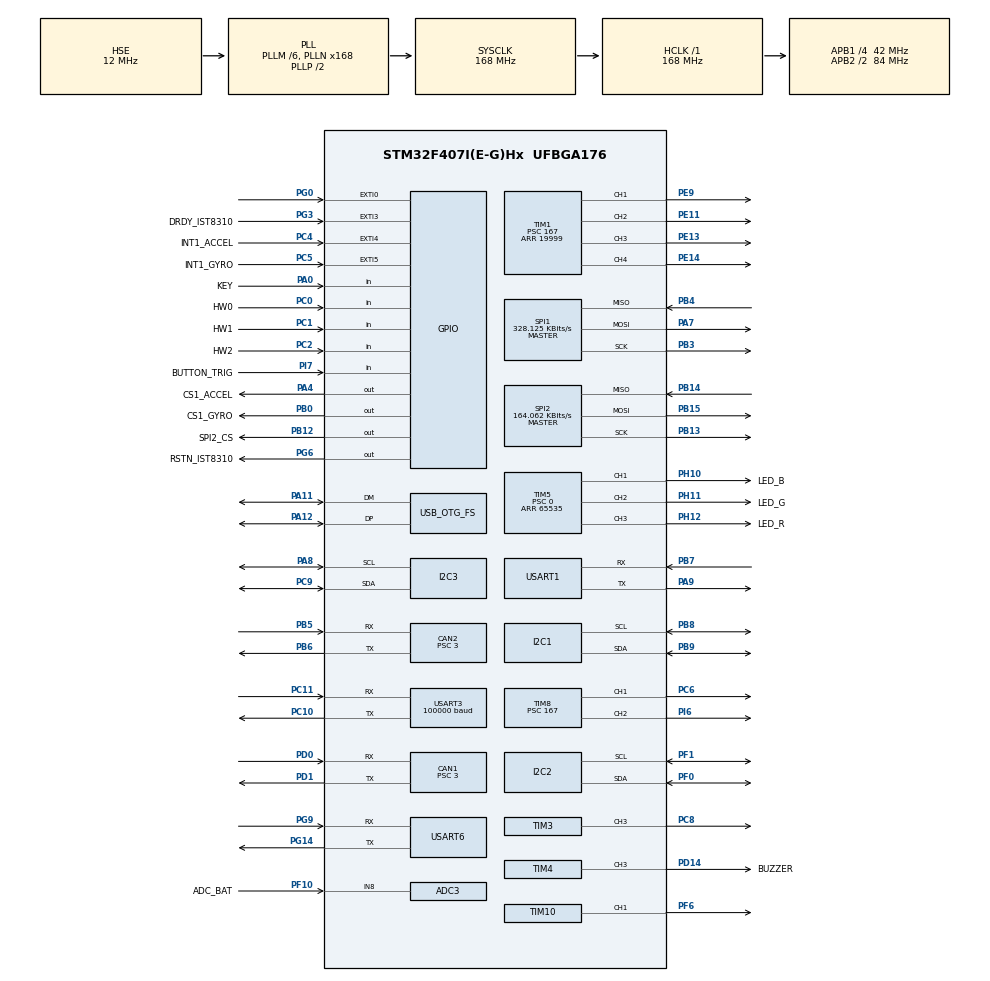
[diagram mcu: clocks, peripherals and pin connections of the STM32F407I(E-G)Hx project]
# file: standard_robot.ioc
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ADC1.Channel-0\#ChannelRegularConversion=ADC_CHANNEL_TEMPSENSOR
ADC1.ClockPrescaler=ADC_CLOCK_SYNC_PCLK_DIV6
ADC1.NbrOfConversionFlag=1
ADC1.Rank-0\#ChannelRegularConversion=1
ADC1.SamplingTime-0\#ChannelRegularConversion=ADC_SAMPLETIME_3CYCLES
ADC1.master=1
ADC3.Channel-0\#ChannelRegularConversion=ADC_CHANNEL_8
ADC3.ClockPrescaler=ADC_CLOCK_SYNC_PCLK_DIV6
ADC3.NbrOfConversionFlag=1
ADC3.Rank-0\#ChannelRegularConversion=1
ADC3.SamplingTime-0\#ChannelRegularConversion=ADC_SAMPLETIME_3CYCLES
CAN1.BS1=CAN_BS1_10TQ
CAN1.BS2=CAN_BS2_3TQ
CAN1.CalculateBaudRate=1000000
CAN1.CalculateTimeQuantum=71.42857142857143
CAN1.Prescaler=3
CAN2.BS1=CAN_BS1_10TQ
CAN2.BS2=CAN_BS2_3TQ
CAN2.CalculateBaudRate=1000000
CAN2.CalculateTimeQuantum=71.42857142857143
CAN2.Prescaler=3
Dma.I2C2_TX.2.Direction=DMA_MEMORY_TO_PERIPH
Dma.I2C2_TX.2.FIFOMode=DMA_FIFOMODE_DISABLE
Dma.I2C2_TX.2.Instance=DMA1_Stream7
Dma.I2C2_TX.2.MemDataAlignment=DMA_MDATAALIGN_BYTE
Dma.I2C2_TX.2.MemInc=DMA_MINC_ENABLE
Dma.I2C2_TX.2.Mode=DMA_NORMAL
Dma.I2C2_TX.2.PeriphDataAlignment=DMA_PDATAALIGN_BYTE
Dma.I2C2_TX.2.PeriphInc=DMA_PINC_DISABLE
Dma.I2C2_TX.2.Priority=DMA_PRIORITY_HIGH
Dma.Request0=SPI1_RX
Dma.Request1=SPI1_TX
Dma.Request2=I2C2_TX
Dma.Request3=USART3_RX
Dma.Request4=USART6_RX
Dma.Request5=USART6_TX
Dma.Request6=USART1_TX
Dma.SPI1_RX.0.Direction=DMA_PERIPH_TO_MEMORY
Dma.SPI1_RX.0.FIFOMode=DMA_FIFOMODE_DISABLE
Dma.SPI1_RX.0.Instance=DMA2_Stream2
Dma.SPI1_RX.0.MemDataAlignment=DMA_MDATAALIGN_BYTE
Dma.SPI1_RX.0.MemInc=DMA_MINC_ENABLE
Dma.SPI1_RX.0.Mode=DMA_NORMAL
Dma.SPI1_RX.0.PeriphDataAlignment=DMA_PDATAALIGN_BYTE
Dma.SPI1_RX.0.PeriphInc=DMA_PINC_DISABLE
Dma.SPI1_RX.0.Priority=DMA_PRIORITY_VERY_HIGH
Dma.SPI1_TX.1.Direction=DMA_MEMORY_TO_PERIPH
Dma.SPI1_TX.1.FIFOMode=DMA_FIFOMODE_DISABLE
Dma.SPI1_TX.1.Instance=DMA2_Stream3
Dma.SPI1_TX.1.MemDataAlignment=DMA_MDATAALIGN_BYTE
Dma.SPI1_TX.1.MemInc=DMA_MINC_ENABLE
Dma.SPI1_TX.1.Mode=DMA_NORMAL
Dma.SPI1_TX.1.PeriphDataAlignment=DMA_PDATAALIGN_BYTE
Dma.SPI1_TX.1.PeriphInc=DMA_PINC_DISABLE
Dma.SPI1_TX.1.Priority=DMA_PRIORITY_HIGH
Dma.USART1_TX.6.Direction=DMA_MEMORY_TO_PERIPH
Dma.USART1_TX.6.FIFOMode=DMA_FIFOMODE_DISABLE
Dma.USART1_TX.6.Instance=DMA2_Stream7
Dma.USART1_TX.6.MemDataAlignment=DMA_MDATAALIGN_BYTE
Dma.USART1_TX.6.MemInc=DMA_MINC_ENABLE
Dma.USART1_TX.6.Mode=DMA_NORMAL
Dma.USART1_TX.6.PeriphDataAlignment=DMA_PDATAALIGN_BYTE
Dma.USART1_TX.6.PeriphInc=DMA_PINC_DISABLE
Dma.USART1_TX.6.Priority=DMA_PRIORITY_MEDIUM
Dma.USART3_RX.3.Direction=DMA_PERIPH_TO_MEMORY
Dma.USART3_RX.3.FIFOMode=DMA_FIFOMODE_DISABLE
Dma.USART3_RX.3.Instance=DMA1_Stream1
Dma.USART3_RX.3.MemDataAlignment=DMA_MDATAALIGN_BYTE
Dma.USART3_RX.3.MemInc=DMA_MINC_ENABLE
Dma.USART3_RX.3.Mode=DMA_NORMAL
Dma.USART3_RX.3.PeriphDataAlignment=DMA_PDATAALIGN_BYTE
Dma.USART3_RX.3.PeriphInc=DMA_PINC_DISABLE
Dma.USART3_RX.3.Priority=DMA_PRIORITY_HIGH
Dma.USART6_RX.4.Direction=DMA_PERIPH_TO_MEMORY
Dma.USART6_RX.4.FIFOMode=DMA_FIFOMODE_DISABLE
Dma.USART6_RX.4.Instance=DMA2_Stream1
Dma.USART6_RX.4.MemDataAlignment=DMA_MDATAALIGN_BYTE
Dma.USART6_RX.4.MemInc=DMA_MINC_ENABLE
Dma.USART6_RX.4.Mode=DMA_NORMAL
Dma.USART6_RX.4.PeriphDataAlignment=DMA_PDATAALIGN_BYTE
Dma.USART6_RX.4.PeriphInc=DMA_PINC_DISABLE
Dma.USART6_RX.4.Priority=DMA_PRIORITY_HIGH
Dma.USART6_TX.5.Direction=DMA_MEMORY_TO_PERIPH
Dma.USART6_TX.5.FIFOMode=DMA_FIFOMODE_DISABLE
Dma.USART6_TX.5.Instance=DMA2_Stream6
Dma.USART6_TX.5.MemDataAlignment=DMA_MDATAALIGN_BYTE
Dma.USART6_TX.5.MemInc=DMA_MINC_ENABLE
Dma.USART6_TX.5.Mode=DMA_NORMAL
Dma.USART6_TX.5.PeriphDataAlignment=DMA_PDATAALIGN_BYTE
Dma.USART6_TX.5.PeriphInc=DMA_PINC_DISABLE
Dma.USART6_TX.5.Priority=DMA_PRIORITY_MEDIUM
FREERTOS.INCLUDE_eTaskGetState=1
FREERTOS.INCLUDE_pcTaskGetTaskName=1
FREERTOS.INCLUDE_uxTaskGetStackHighWaterMark=1
FREERTOS.INCLUDE_vTaskCleanUpResources=1
FREERTOS.INCLUDE_vTaskDelayUntil=1
FREERTOS.INCLUDE_xEventGroupSetBitFromISR=1
FREERTOS.INCLUDE_xQueueGetMutexHolder=1
FREERTOS.INCLUDE_xSemaphoreGetMutexHolder=1
FREERTOS.INCLUDE_xTaskAbortDelay=1
FREERTOS.INCLUDE_xTaskGetCurrentTaskHandle=1
FREERTOS.INCLUDE_xTaskGetHandle=1
FREERTOS.INCLUDE_xTimerPendFunctionCall=1
FREERTOS.Tasks01=test,0,128,test_task,As weak,NULL,Dynamic,NULL,NULL;shoot,0,512,shoot_task,As external,NULL,Dynamic,NULL,NULL
FREERTOS.Timers01=Buzz_Timer,Buzz_Callback,osTimerOnce,As external,NULL,Dynamic,NULL;Anti_Locked_L_Timer,Anti_Locked_L_Callback,osTimerPeriodic,As external,NULL,Dynamic,NULL;Anti_Locked_R_Timer,Anti_Locked_R_Callback,osTimerPeriodic,As external,NULL,Dynamic,NULL
FREERTOS.configTOTAL_HEAP_SIZE=24576
I2C1.I2C_Mode=I2C_Fast
I2C2.I2C_Mode=I2C_Fast
I2C3.I2C_Mode=I2C_Fast
Mcu.Family=STM32F4
Mcu.Name=STM32F407I(E-G)Hx
Mcu.Package=UFBGA176
NVIC.CAN1_RX0_IRQn=true\:6\:0\:true\:false\:true\:true\:true\:true\:true
NVIC.CAN2_RX0_IRQn=true\:6\:0\:true\:false\:true\:true\:true\:true\:true
NVIC.DMA1_Stream1_IRQn=true\:5\:0\:true\:false\:false\:true\:false\:false\:true
NVIC.DMA1_Stream7_IRQn=true\:5\:0\:true\:false\:false\:true\:false\:true\:true
NVIC.DMA2_Stream1_IRQn=true\:5\:0\:true\:false\:true\:true\:false\:true\:true
NVIC.DMA2_Stream2_IRQn=true\:5\:0\:true\:false\:false\:true\:false\:true\:true
NVIC.DMA2_Stream3_IRQn=true\:5\:0\:true\:false\:false\:true\:false\:true\:true
NVIC.DMA2_Stream6_IRQn=true\:5\:0\:true\:false\:true\:true\:false\:true\:true
NVIC.DMA2_Stream7_IRQn=true\:5\:0\:true\:false\:true\:true\:false\:true\:true
NVIC.EXTI0_IRQn=true\:6\:0\:true\:false\:true\:true\:true\:true\:true
NVIC.EXTI3_IRQn=true\:5\:0\:true\:false\:true\:true\:true\:true\:true
NVIC.EXTI4_IRQn=true\:5\:0\:true\:false\:true\:true\:true\:true\:true
NVIC.EXTI9_5_IRQn=true\:5\:0\:true\:false\:true\:true\:true\:true\:true
NVIC.OTG_FS_IRQn=true\:5\:0\:false\:false\:true\:true\:false\:true\:true
NVIC.PriorityGroup=NVIC_PRIORITYGROUP_4
NVIC.USART3_IRQn=true\:4\:0\:true\:false\:false\:false\:true\:true\:true
NVIC.USART6_IRQn=true\:5\:0\:true\:false\:false\:true\:true\:true\:true
PA0-WKUP.GPIO_Label=KEY
PA0-WKUP.GPIO_PuPd=GPIO_PULLUP
PA0-WKUP.Signal=GPIO_Input
PA11.Mode=Device_Only
PA11.Signal=USB_OTG_FS_DM
PA12.Mode=Device_Only
PA12.Signal=USB_OTG_FS_DP
PA13.Mode=Serial_Wire
PA13.Signal=SYS_JTMS-SWDIO
PA14.Mode=Serial_Wire
PA14.Signal=SYS_JTCK-SWCLK
PA4.GPIO_Label=CS1_ACCEL
PA4.GPIO_PuPd=GPIO_PULLUP
PA4.GPIO_Speed=GPIO_SPEED_FREQ_HIGH
PA4.PinState=GPIO_PIN_SET
PA4.Signal=GPIO_Output
PA7.GPIO_PuPd=GPIO_PULLUP
PA7.Mode=Full_Duplex_Master
PA7.Signal=SPI1_MOSI
PA8.GPIO_Pu=GPIO_PULLUP
PA8.Mode=I2C
PA8.Signal=I2C3_SCL
PA9.Mode=Asynchronous
PA9.Signal=USART1_TX
PB0.GPIO_Label=CS1_GYRO
PB0.GPIO_PuPd=GPIO_PULLUP
PB0.GPIO_Speed=GPIO_SPEED_FREQ_HIGH
PB0.PinState=GPIO_PIN_SET
PB0.Signal=GPIO_Output
PB12.GPIO_Label=SPI2_CS
PB12.GPIO_PuPd=GPIO_PULLUP
PB12.GPIO_Speed=GPIO_SPEED_FREQ_MEDIUM
PB12.PinState=GPIO_PIN_SET
PB12.Signal=GPIO_Output
PB13.GPIO_PuPd=GPIO_PULLUP
PB13.Mode=Full_Duplex_Master
PB13.Signal=SPI2_SCK
PB14.GPIO_PuPd=GPIO_PULLUP
PB14.Mode=Full_Duplex_Master
PB14.Signal=SPI2_MISO
PB15.GPIO_PuPd=GPIO_PULLUP
PB15.Mode=Full_Duplex_Master
PB15.Signal=SPI2_MOSI
PB3.GPIO_PuPd=GPIO_PULLUP
PB3.Mode=Full_Duplex_Master
PB3.Signal=SPI1_SCK
PB4.GPIO_PuPd=GPIO_PULLUP
PB4.Mode=Full_Duplex_Master
PB4.Signal=SPI1_MISO
PB5.Mode=CAN_Activate
PB5.Signal=CAN2_RX
PB6.Mode=CAN_Activate
PB6.Signal=CAN2_TX
PB7.Mode=Asynchronous
PB7.Signal=USART1_RX
PB8.GPIO_Pu=GPIO_PULLUP
PB8.Mode=I2C
PB8.Signal=I2C1_SCL
PB9.GPIO_Pu=GPIO_PULLUP
PB9.Mode=I2C
PB9.Signal=I2C1_SDA
PC0.GPIO_Label=HW0
PC0.Signal=GPIO_Input
PC1.GPIO_Label=HW1
PC1.Signal=GPIO_Input
PC10.Mode=Asynchronous
PC10.Signal=USART3_TX
PC11.Mode=Asynchronous
PC11.Signal=USART3_RX
PC2.GPIO_Label=HW2
PC2.Signal=GPIO_Input
PC4.GPIO_Label=INT1_ACCEL
PC4.GPIO_ModeDefaultEXTI=GPIO_MODE_IT_FALLING
PC4.GPIO_PuPd=GPIO_PULLUP
PC4.Signal=GPXTI4
PC5.GPIO_Label=INT1_GYRO
PC5.GPIO_ModeDefaultEXTI=GPIO_MODE_IT_FALLING
PC5.GPIO_PuPd=GPIO_PULLUP
PC5.Signal=GPXTI5
PC6.GPIO_PuPd=GPIO_PULLUP
PC6.GPIO_Speed=GPIO_SPEED_FREQ_HIGH
PC6.Signal=S_TIM8_CH1
PC8.GPIO_PuPd=GPIO_PULLUP
PC8.GPIO_Speed=GPIO_SPEED_FREQ_HIGH
PC8.Signal=S_TIM3_CH3
PC9.GPIO_Pu=GPIO_PULLUP
PC9.Mode=I2C
PC9.Signal=I2C3_SDA
PD0.Mode=CAN_Activate
PD0.Signal=CAN1_RX
PD1.Mode=CAN_Activate
PD1.Signal=CAN1_TX
PD14.GPIO_Label=BUZZER
PD14.GPIO_PuPd=GPIO_NOPULL
PD14.GPIO_Speed=GPIO_SPEED_FREQ_VERY_HIGH
PD14.Signal=S_TIM4_CH3
PE11.GPIO_PuPd=GPIO_PULLUP
PE11.GPIO_Speed=GPIO_SPEED_FREQ_HIGH
PE11.Signal=S_TIM1_CH2
PE13.GPIO_PuPd=GPIO_PULLUP
PE13.GPIO_Speed=GPIO_SPEED_FREQ_HIGH
PE13.Signal=S_TIM1_CH3
PE14.GPIO_PuPd=GPIO_PULLUP
PE14.GPIO_Speed=GPIO_SPEED_FREQ_HIGH
PE14.Signal=S_TIM1_CH4
PE9.GPIO_PuPd=GPIO_PULLUP
PE9.GPIO_Speed=GPIO_SPEED_FREQ_HIGH
PE9.Signal=S_TIM1_CH1
PF0.GPIO_Pu=GPIO_PULLUP
PF0.Mode=I2C
PF0.Signal=I2C2_SDA
PF1.GPIO_Pu=GPIO_PULLUP
PF1.Mode=I2C
PF1.Signal=I2C2_SCL
PF10.GPIO_Label=ADC_BAT
PF10.Mode=IN8
PF10.Signal=ADC3_IN8
PF6.GPIO_PuPd=GPIO_PULLUP
PF6.GPIO_Speed=GPIO_SPEED_FREQ_HIGH
PF6.Signal=S_TIM10_CH1
PG0.GPIO_ModeDefaultEXTI=GPIO_MODE_IT_FALLING
PG0.GPIO_PuPd=GPIO_PULLUP
PG0.Signal=GPXTI0
PG14.Mode=Asynchronous
PG14.Signal=USART6_TX
PG3.GPIO_Label=DRDY_IST8310
PG3.GPIO_ModeDefaultEXTI=GPIO_MODE_IT_FALLING
PG3.GPIO_PuPd=GPIO_PULLUP
PG3.Signal=GPXTI3
PG6.GPIO_Label=RSTN_IST8310
PG6.GPIO_PuPd=GPIO_PULLUP
PG6.GPIO_Speed=GPIO_SPEED_FREQ_MEDIUM
PG6.PinState=GPIO_PIN_SET
PG6.Signal=GPIO_Output
PG9.Mode=Asynchronous
PG9.Signal=USART6_RX
PH0-OSC_IN.Mode=HSE-External-Oscillator
PH0-OSC_IN.Signal=RCC_OSC_IN
PH1-OSC_OUT.Mode=HSE-External-Oscillator
PH1-OSC_OUT.Signal=RCC_OSC_OUT
PH10.GPIO_Label=LED_B
PH10.GPIO_PuPd=GPIO_PULLUP
PH10.GPIO_Speed=GPIO_SPEED_FREQ_HIGH
PH10.Signal=S_TIM5_CH1
PH11.GPIO_Label=LED_G
PH11.GPIO_PuPd=GPIO_PULLUP
PH11.GPIO_Speed=GPIO_SPEED_FREQ_HIGH
PH11.Signal=S_TIM5_CH2
PH12.GPIO_Label=LED_R
PH12.GPIO_PuPd=GPIO_PULLUP
PH12.GPIO_Speed=GPIO_SPEED_FREQ_HIGH
PH12.Signal=S_TIM5_CH3
PI6.GPIO_PuPd=GPIO_PULLUP
PI6.GPIO_Speed=GPIO_SPEED_FREQ_HIGH
PI6.Signal=S_TIM8_CH2
PI7.GPIO_Label=BUTTON_TRIG
PI7.GPIO_PuPd=GPIO_PULLUP
PI7.Signal=GPIO_Input
ProjectManager.HeapSize=0x2000
ProjectManager.StackSize=0x2000
ProjectManager.TargetToolchain=MDK-ARM V5
RCC.48MHZClocksFreq_Value=48000000
RCC.AHBFreq_Value=168000000
RCC.APB1CLKDivider=RCC_HCLK_DIV4
RCC.APB1Freq_Value=42000000
RCC.APB1TimFreq_Value=84000000
RCC.APB2CLKDivider=RCC_HCLK_DIV2
RCC.APB2Freq_Value=84000000
RCC.APB2TimFreq_Value=168000000
RCC.CortexFreq_Value=168000000
RCC.HCLKFreq_Value=168000000
RCC.HSE_VALUE=12000000
RCC.HSI_VALUE=16000000
RCC.LSE_VALUE=32768
RCC.PLLM=6
RCC.PLLN=168
RCC.PLLQ=7
RCC.RCC_RTC_Clock_SourceVirtual=RCC_RTCCLKSOURCE_HSE_DIV30
RCC.RCC_RTC_Clock_Source_FROM_HSE=RCC_RTCCLKSOURCE_HSE_DIV30
RCC.SYSCLKFreq_VALUE=168000000
RCC.SYSCLKSource=RCC_SYSCLKSOURCE_PLLCLK
RCC.VCOOutputFreq_Value=336000000
RTC.AsynchPrediv=124
RTC.SynchPrediv=3199
SH.S_TIM10_CH1.0=TIM10_CH1,PWM Generation1 CH1
SH.S_TIM1_CH1.0=TIM1_CH1,PWM Generation1 CH1
SH.S_TIM1_CH2.0=TIM1_CH2,PWM Generation2 CH2
SH.S_TIM1_CH3.0=TIM1_CH3,PWM Generation3 CH3
SH.S_TIM1_CH4.0=TIM1_CH4,PWM Generation4 CH4
SH.S_TIM3_CH3.0=TIM3_CH3,PWM Generation3 CH3
SH.S_TIM4_CH3.0=TIM4_CH3,PWM Generation3 CH3
SH.S_TIM5_CH1.0=TIM5_CH1,PWM Generation1 CH1
SH.S_TIM5_CH2.0=TIM5_CH2,PWM Generation2 CH2
SH.S_TIM5_CH3.0=TIM5_CH3,PWM Generation3 CH3
SH.S_TIM8_CH1.0=TIM8_CH1,PWM Generation1 CH1
SH.S_TIM8_CH2.0=TIM8_CH2,PWM Generation2 CH2
SPI1.BaudRatePrescaler=SPI_BAUDRATEPRESCALER_256
SPI1.CLKPhase=SPI_PHASE_2EDGE
SPI1.CLKPolarity=SPI_POLARITY_HIGH
SPI1.CalculateBaudRate=328.125 KBits/s
SPI1.Direction=SPI_DIRECTION_2LINES
SPI1.Mode=SPI_MODE_MASTER
SPI1.VirtualType=VM_MASTER
SPI2.BaudRatePrescaler=SPI_BAUDRATEPRESCALER_256
SPI2.CLKPhase=SPI_PHASE_2EDGE
SPI2.CLKPolarity=SPI_POLARITY_HIGH
SPI2.CalculateBaudRate=164.062 KBits/s
SPI2.Direction=SPI_DIRECTION_2LINES
SPI2.Mode=SPI_MODE_MASTER
SPI2.VirtualType=VM_MASTER
TIM1.Channel-PWM\ Generation1\ CH1=TIM_CHANNEL_1
TIM1.Channel-PWM\ Generation2\ CH2=TIM_CHANNEL_2
TIM1.Channel-PWM\ Generation3\ CH3=TIM_CHANNEL_3
TIM1.Channel-PWM\ Generation4\ CH4=TIM_CHANNEL_4
TIM1.Period=19999
TIM1.Prescaler=167
TIM1.Pulse-PWM\ Generation1\ CH1=1000
TIM1.Pulse-PWM\ Generation2\ CH2=1000
TIM1.Pulse-PWM\ Generation3\ CH3=1000
TIM1.Pulse-PWM\ Generation4\ CH4=1000
TIM10.Channel=TIM_CHANNEL_1
TIM10.Period=4999
TIM3.Channel-PWM\ Generation3\ CH3=TIM_CHANNEL_3
TIM3.Period=8399
TIM4.Channel-PWM\ Generation3\ CH3=TIM_CHANNEL_3
TIM4.Period=20999
TIM4.Prescaler=0
TIM5.Channel-PWM\ Generation1\ CH1=TIM_CHANNEL_1
TIM5.Channel-PWM\ Generation2\ CH2=TIM_CHANNEL_2
TIM5.Channel-PWM\ Generation3\ CH3=TIM_CHANNEL_3
TIM5.Period=65535
TIM5.Prescaler=0
TIM8.Channel-PWM\ Generation1\ CH1=TIM_CHANNEL_1
TIM8.Channel-PWM\ Generation2\ CH2=TIM_CHANNEL_2
TIM8.Period=19999
TIM8.Prescaler=167
TIM8.Pulse-PWM\ Generation1\ CH1=1000
TIM8.Pulse-PWM\ Generation2\ CH2=1000
USART1.VirtualMode=VM_ASYNC
USART3.BaudRate=100000
USART3.Parity=PARITY_EVEN
USART3.VirtualMode=VM_ASYNC
USART6.VirtualMode=VM_ASYNC
USB_DEVICE.CLASS_NAME_FS=CDC
USB_DEVICE.VirtualMode-CDC_FS=Cdc
USB_DEVICE.VirtualModeFS=Cdc_FS
USB_OTG_FS.VirtualMode=Device_Only
VP_ADC1_TempSens_Input.Mode=IN-TempSens
VP_ADC1_Vref_Input.Mode=IN-Vrefint
VP_CRC_VS_CRC.Mode=CRC_Activate
VP_FREERTOS_VS_CMSIS_V1.Mode=CMSIS_V1
VP_RNG_VS_RNG.Mode=RNG_Activate
VP_RTC_VS_RTC_Activate.Mode=RTC_Enabled
VP_TIM10_VS_ClockSourceINT.Mode=Enable_Timer
VP_TIM1_VS_ClockSourceINT.Mode=Internal
VP_TIM3_VS_ClockSourceINT.Mode=Internal
VP_TIM4_VS_ClockSourceINT.Mode=Internal
VP_TIM5_VS_ClockSourceINT.Mode=Internal
VP_TIM8_VS_ClockSourceINT.Mode=Internal
VP_USB_DEVICE_VS_USB_DEVICE_CDC_FS.Mode=CDC_FS
board=custom

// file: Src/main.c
/* USER CODE BEGIN Header */
/**
  ******************************************************************************
  * @file           : main.c
  * @brief          : Main program body
  ******************************************************************************
  * @attention
  *
  * <h2><center>&copy; Copyright (c) 2019 STMicroelectronics.
  * All rights reserved.</center></h2>
  *
  * This software component is licensed by ST under Ultimate Liberty license
  * SLA0044, the "License"; You may not use this file except in compliance with
  * the License. You may obtain a copy of the License at:
  *                             www.st.com/SLA0044
  *
  ******************************************************************************
  */
/* USER CODE END Header */
#include "main.h"
#include "cmsis_os.h"
#include "adc.h"
#include "can.h"
#include "crc.h"
#include "dma.h"
#include "i2c.h"
#include "rng.h"
#include "rtc.h"
#include "spi.h"
#include "tim.h"
#include "usart.h"
#include "usb_device.h"
#include "gpio.h"

/* USER CODE BEGIN Includes */
#include "bsp_can.h"
#include "bsp_buzzer.h"
#include "bsp_delay.h"
#include "bsp_usart.h"
#include "remote_control.h"

#include "calibrate_task.h"
#include "chassis_task.h"
#include "detect_task.h"
#include "gimbal_task.h"
#include "INS_task.h"
//#include "led_flow_task.h"
#include "oled_task.h"
#include "referee_usart_task.h"
#include "usb_task.h"
#include "voltage_task.h"

#include "shoot_task.h"
/* USER CODE END Includes */

void SystemClock_Config(void);
void MX_FREERTOS_Init(void);

/* USER CODE BEGIN 0 */
	void usb_init()
{
	GPIO_InitTypeDef GPIO_InitStruct = {0};
	GPIO_InitStruct.Pin = GPIO_PIN_12;

	GPIO_InitStruct.Mode = GPIO_MODE_OUTPUT_PP;

	GPIO_InitStruct.Pull = GPIO_PULLDOWN;

	HAL_GPIO_Init(GPIOA, &GPIO_InitStruct);

	HAL_GPIO_WritePin(GPIOA,GPIO_PIN_12,GPIO_PIN_RESET);
	HAL_Delay(100);
}
/* USER CODE END 0 */

int main(void)
{

  /* MCU Configuration--------------------------------------------------------*/

  /* Reset of all peripherals, Initializes the Flash interface and the Systick. */
  HAL_Init();

  /* Configure the system clock */
  SystemClock_Config();

  /* Initialize all configured peripherals */
  MX_GPIO_Init();
  MX_DMA_Init();
  MX_ADC1_Init();
  MX_ADC3_Init();
  MX_CAN1_Init();
  MX_CAN2_Init();
  MX_I2C1_Init();
  MX_SPI1_Init();
  MX_TIM4_Init();
  MX_TIM5_Init();
  MX_USART3_UART_Init();
  MX_TIM8_Init();
  MX_CRC_Init();
  MX_RNG_Init();
  MX_I2C2_Init();
  MX_I2C3_Init();
  MX_RTC_Init();
  MX_SPI2_Init();
  MX_TIM1_Init();
  MX_TIM3_Init();
  MX_TIM10_Init();
  MX_USART1_UART_Init();
  MX_USART6_UART_Init();
  /* USER CODE BEGIN 2 */
    can_filter_init();
    delay_init();
    cali_param_init();
    remote_control_init();
    usart1_tx_dma_init();
	usb_init();
	//usb���⴮������ö��
  /* USER CODE END 2 */

  /* Call init function for freertos objects (in freertos.c) */
  MX_FREERTOS_Init();

  /* Start scheduler */
  osKernelStart();

  /* We should never get here as control is now taken by the scheduler */
  /* Infinite loop */
  while (1)
  {

  }
}

void SystemClock_Config(void)
{
  RCC_OscInitTypeDef RCC_OscInitStruct = {0};
  RCC_ClkInitTypeDef RCC_ClkInitStruct = {0};

  /** Configure the main internal regulator output voltage
  */
  __HAL_RCC_PWR_CLK_ENABLE();
  __HAL_PWR_VOLTAGESCALING_CONFIG(PWR_REGULATOR_VOLTAGE_SCALE1);

  /** Initializes the RCC Oscillators according to the specified parameters
  * in the RCC_OscInitTypeDef structure.
  */
  RCC_OscInitStruct.OscillatorType = RCC_OSCILLATORTYPE_HSE;
  RCC_OscInitStruct.HSEState = RCC_HSE_ON;
  RCC_OscInitStruct.PLL.PLLState = RCC_PLL_ON;
  RCC_OscInitStruct.PLL.PLLSource = RCC_PLLSOURCE_HSE;
  RCC_OscInitStruct.PLL.PLLM = 6;
  RCC_OscInitStruct.PLL.PLLN = 168;
  RCC_OscInitStruct.PLL.PLLP = RCC_PLLP_DIV2;
  RCC_OscInitStruct.PLL.PLLQ = 7;
  if (HAL_RCC_OscConfig(&RCC_OscInitStruct) != HAL_OK)
  {
    Error_Handler();
  }

  /** Initializes the CPU, AHB and APB buses clocks
  */
  RCC_ClkInitStruct.ClockType = RCC_CLOCKTYPE_HCLK|RCC_CLOCKTYPE_SYSCLK
                              |RCC_CLOCKTYPE_PCLK1|RCC_CLOCKTYPE_PCLK2;
  RCC_ClkInitStruct.SYSCLKSource = RCC_SYSCLKSOURCE_PLLCLK;
  RCC_ClkInitStruct.AHBCLKDivider = RCC_SYSCLK_DIV1;
  RCC_ClkInitStruct.APB1CLKDivider = RCC_HCLK_DIV4;
  RCC_ClkInitStruct.APB2CLKDivider = RCC_HCLK_DIV2;

  if (HAL_RCC_ClockConfig(&RCC_ClkInitStruct, FLASH_LATENCY_5) != HAL_OK)
  {
    Error_Handler();
  }
}

void Error_Handler(void)
{
}

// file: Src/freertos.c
/* USER CODE BEGIN Header */
/**
  ******************************************************************************
  * File Name          : freertos.c
  * Description        : Code for freertos applications
  ******************************************************************************
  * @attention
  *
  * <h2><center>&copy; Copyright (c) 2019 STMicroelectronics.
  * All rights reserved.</center></h2>
  *
  * This software component is licensed by ST under Ultimate Liberty license
  * SLA0044, the "License"; You may not use this file except in compliance with
  * the License. You may obtain a copy of the License at:
  *                             www.st.com/SLA0044
  *
  ******************************************************************************
  */
/* USER CODE END Header */

#include "FreeRTOS.h"
#include "task.h"
#include "main.h"
#include "cmsis_os.h"

/* USER CODE BEGIN Includes */

#include "calibrate_task.h"
#include "chassis_task.h"
#include "detect_task.h"
#include "gimbal_task.h"
#include "INS_task.h"
#include "led_flow_task.h"
#include "oled_task.h"
#include "referee_usart_task.h"
#include "usb_task.h"
#include "voltage_task.h"
#include "servo_task.h"

#include "shoot_task.h"
/* USER CODE END Includes */

/* USER CODE BEGIN PTD */

osThreadId calibrate_tast_handle;
osThreadId chassisTaskHandle;
osThreadId detect_handle;
osThreadId gimbalTaskHandle;
osThreadId imuTaskHandle;
osThreadId led_RGB_flow_handle;
osThreadId oled_handle;
osThreadId referee_usart_task_handle;
osThreadId usb_task_handle;
osThreadId battery_voltage_handle;
osThreadId servo_task_handle;

/* USER CODE END PTD */

osThreadId testHandle;
osThreadId shootHandle;
osTimerId Buzz_TimerHandle;
osTimerId Anti_Locked_L_TimerHandle;
osTimerId Anti_Locked_R_TimerHandle;

void test_task(void const * argument);
extern void shoot_task(void const * argument);
extern void Buzz_Callback(void const * argument);
extern void Anti_Locked_L_Callback(void const * argument);
extern void Anti_Locked_R_Callback(void const * argument);

extern void MX_USB_DEVICE_Init(void);
void MX_FREERTOS_Init(void); /* (MISRA C 2004 rule 8.1) */

/* GetIdleTaskMemory prototype (linked to static allocation support) */
void vApplicationGetIdleTaskMemory( StaticTask_t **ppxIdleTaskTCBBuffer, StackType_t **ppxIdleTaskStackBuffer, uint32_t *pulIdleTaskStackSize );

/* GetTimerTaskMemory prototype (linked to static allocation support) */
void vApplicationGetTimerTaskMemory( StaticTask_t **ppxTimerTaskTCBBuffer, StackType_t **ppxTimerTaskStackBuffer, uint32_t *pulTimerTaskStackSize );

/* USER CODE BEGIN GET_IDLE_TASK_MEMORY */
static StaticTask_t xIdleTaskTCBBuffer;
static StackType_t xIdleStack[configMINIMAL_STACK_SIZE];

void vApplicationGetIdleTaskMemory( StaticTask_t **ppxIdleTaskTCBBuffer, StackType_t **ppxIdleTaskStackBuffer, uint32_t *pulIdleTaskStackSize )
{
  *ppxIdleTaskTCBBuffer = &xIdleTaskTCBBuffer;
  *ppxIdleTaskStackBuffer = &xIdleStack[0];
  *pulIdleTaskStackSize = configMINIMAL_STACK_SIZE;
  /* place for user code */
}
/* USER CODE END GET_IDLE_TASK_MEMORY */

/* USER CODE BEGIN GET_TIMER_TASK_MEMORY */
static StaticTask_t xTimerTaskTCBBuffer;
static StackType_t xTimerStack[configTIMER_TASK_STACK_DEPTH];

void vApplicationGetTimerTaskMemory( StaticTask_t **ppxTimerTaskTCBBuffer, StackType_t **ppxTimerTaskStackBuffer, uint32_t *pulTimerTaskStackSize )
{
  *ppxTimerTaskTCBBuffer = &xTimerTaskTCBBuffer;
  *ppxTimerTaskStackBuffer = &xTimerStack[0];
  *pulTimerTaskStackSize = configTIMER_TASK_STACK_DEPTH;
  /* place for user code */
}
/* USER CODE END GET_TIMER_TASK_MEMORY */

void MX_FREERTOS_Init(void) {

  /* Create the timer(s) */
  /* definition and creation of Buzz_Timer */
  osTimerDef(Buzz_Timer, Buzz_Callback);
  Buzz_TimerHandle = osTimerCreate(osTimer(Buzz_Timer), osTimerOnce, NULL);

  /* definition and creation of Anti_Locked_L_Timer */
  osTimerDef(Anti_Locked_L_Timer, Anti_Locked_L_Callback);
  Anti_Locked_L_TimerHandle = osTimerCreate(osTimer(Anti_Locked_L_Timer), osTimerPeriodic, NULL);

  /* definition and creation of Anti_Locked_R_Timer */
  osTimerDef(Anti_Locked_R_Timer, Anti_Locked_R_Callback);
  Anti_Locked_R_TimerHandle = osTimerCreate(osTimer(Anti_Locked_R_Timer), osTimerPeriodic, NULL);

  /* Create the thread(s) */
  /* definition and creation of test */
  osThreadDef(test, test_task, osPriorityNormal, 0, 128);
  testHandle = osThreadCreate(osThread(test), NULL);

  /* definition and creation of shoot */
  osThreadDef(shoot, shoot_task, osPriorityNormal, 0, 512);
  shootHandle = osThreadCreate(osThread(shoot), NULL);

  /* USER CODE BEGIN RTOS_THREADS */
  /* add threads, ... */
    osThreadDef(cali, calibrate_task, osPriorityNormal, 0, 512);
    calibrate_tast_handle = osThreadCreate(osThread(cali), NULL);

    osThreadDef(ChassisTask, chassis_task, osPriorityAboveNormal, 0, 512);
    chassisTaskHandle = osThreadCreate(osThread(ChassisTask), NULL);

    osThreadDef(DETECT, detect_task, osPriorityNormal, 0, 256);
    detect_handle = osThreadCreate(osThread(DETECT), NULL);

    osThreadDef(gimbalTask, gimbal_task, osPriorityHigh, 0, 512);
    gimbalTaskHandle = osThreadCreate(osThread(gimbalTask), NULL);

    osThreadDef(imuTask, INS_task, osPriorityRealtime, 0, 1024);
    imuTaskHandle = osThreadCreate(osThread(imuTask), NULL);

    osThreadDef(led, led_RGB_flow_task, osPriorityNormal, 0, 256);
   led_RGB_flow_handle = osThreadCreate(osThread(led), NULL);

    //osThreadDef(OLED, oled_task, osPriorityLow, 0, 256);
    //oled_handle = osThreadCreate(osThread(OLED), NULL);

    osThreadDef(REFEREE, referee_usart_task, osPriorityNormal, 0, 128);
    referee_usart_task_handle = osThreadCreate(osThread(REFEREE), NULL);

    osThreadDef(USBTask, usb_task, osPriorityNormal, 0, 128);
    usb_task_handle = osThreadCreate(osThread(USBTask), NULL);

    osThreadDef(BATTERY_VOLTAGE, battery_voltage_task, osPriorityNormal, 0, 128);
    battery_voltage_handle = osThreadCreate(osThread(BATTERY_VOLTAGE), NULL);

    osThreadDef(SERVO, servo_task, osPriorityNormal, 0, 128);
    servo_task_handle = osThreadCreate(osThread(SERVO), NULL);

  /* USER CODE END RTOS_THREADS */

}

__weak void test_task(void const * argument)
{
  /* init code for USB_DEVICE */
  MX_USB_DEVICE_Init();
  for(;;)
  {
    osDelay(1);
  }
}
